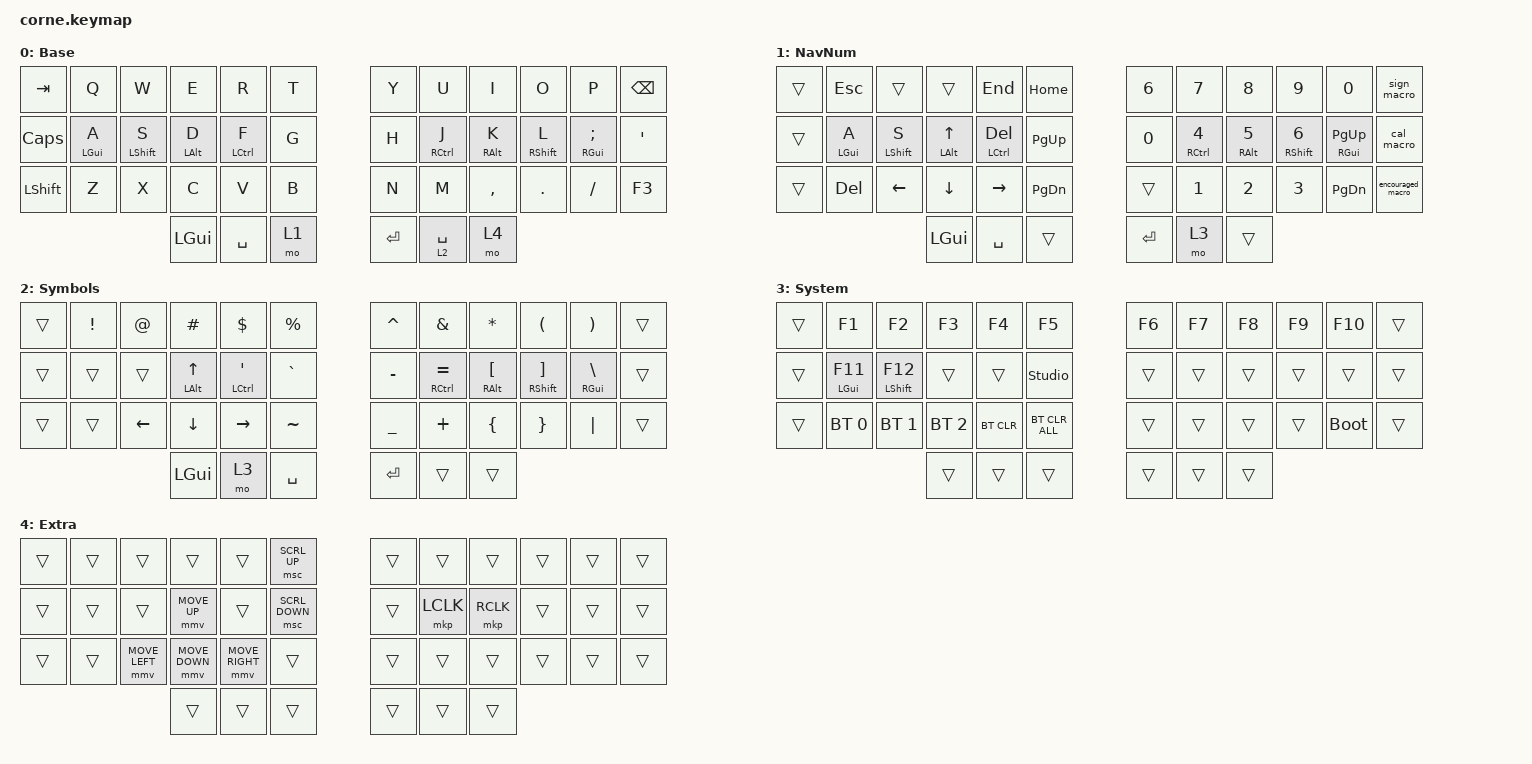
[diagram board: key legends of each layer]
#include <behaviors.dtsi>
#include <dt-bindings/zmk/bt.h>
#include <dt-bindings/zmk/keys.h>
#include <dt-bindings/zmk/pointing.h>

#define DEF 0
#define NAV 1
#define SYM 2
#define ADJ 3
#define EXTRA 4

/ {
    behaviors {
        hm: homerow_mods {
            compatible = "zmk,behavior-hold-tap";
            #binding-cells = <2>;
            tapping-term-ms = <200>;
            flavor = "tap-preferred";
            bindings = <&kp>, <&kp>;

            quick-tap-ms = <180>;
            require-prior-idle-ms = <120>; /* tune to taste */
        };

        para: para {
            compatible = "zmk,behavior-tap-dance";
            #binding-cells = <0>;
            bindings = <&kp LEFT_PARENTHESIS>, <&kp RIGHT_PARENTHESIS>;
        };

        caps: caps {
            compatible = "zmk,behavior-caps-word";
            #binding-cells = <0>;
            continue-list = <MINUS BACKSPACE>;
        };

        paraless: paraless {
            compatible = "zmk,behavior-mod-morph";
            bindings = <&kp LEFT_PARENTHESIS>, <&kp LESS_THAN>;

            #binding-cells = <0>;
            mods = <(MOD_LSFT)>;
        };

        paragreat: paragreat {
            compatible = "zmk,behavior-mod-morph";
            bindings = <&kp RIGHT_PARENTHESIS>, <&kp GREATER_THAN>;

            #binding-cells = <0>;
            mods = <(MOD_LSFT)>;
        };
    };

    macros {
        sign_macro: sign_macro {
            compatible = "zmk,behavior-macro";
            #binding-cells = <0>;
            bindings = <&macro_tap>, <&kp DOT &kp N &kp A &kp B>;

            label = "SIGN_MACRO";
        };

        cal_macro: cal_macro {
            compatible = "zmk,behavior-macro";
            #binding-cells = <0>;
            bindings =
                <&macro_tap>,
                <&kp DOT &kp P &kp T &kp C &kp A &kp L &kp LBKT &kp STAR &kp N3>;

            label = "CAL_MACRO";
        };

        encouraged_macro: encouraged_macro {
            compatible = "zmk,behavior-macro";
            #binding-cells = <0>;
            bindings =
                <&macro_tap>,
                <&kp DOT &kp E &kp N &kp C &kp O &kp U &kp R &kp A &kp G &kp E &kp D>;

            label = "ENCOURAGED_MACRO";
        };
    };

    combos {
        compatible = "zmk,combos";

        escape {
            bindings = <&kp ESCAPE>;
            key-positions = <13 29>;
        };

        delete {
            bindings = <&kp DELETE>;
            key-positions = <15 21>;
        };

        perc {
            bindings = <&kp PERCENT>;
            key-positions = <5 17>;
            layers = <0>;
        };

        equal {
            bindings = <&kp EQUAL>;
            key-positions = <28 16>;
            layers = <0>;
        };

        dollar {
            bindings = <&kp LEFT_PARENTHESIS>;
            key-positions = <4 16>;
            layers = <0>;
        };

        pound {
            bindings = <&kp POUND>;
            key-positions = <3 15>;
            layers = <0>;
        };

        at {
            bindings = <&kp AT>;
            key-positions = <2 14>;
            layers = <0>;
        };

        backslash {
            bindings = <&kp BACKSLASH>;
            key-positions = <26 14>;
            layers = <0>;
        };

        star {
            bindings = <&kp STAR>;
            key-positions = <8 20>;
            layers = <0>;
        };

        slash {
            bindings = <&kp SLASH>;
            key-positions = <32 20>;
            layers = <0>;
        };

        plus {
            bindings = <&kp RIGHT_PARENTHESIS>;
            key-positions = <7 19>;
            layers = <0>;
        };

        minus {
            bindings = <&kp KP_MINUS>;
            key-positions = <31 19>;
            layers = <0>;
        };

        underscore {
            bindings = <&kp UNDER>;
            key-positions = <30 18>;
            layers = <0>;
        };

        leftbrack {
            bindings = <&kp LEFT_BRACKET>;
            key-positions = <31 32>;
            layers = <0>;
        };

        rightbrack {
            bindings = <&kp RIGHT_BRACKET>;
            key-positions = <33 32>;
            layers = <0>;
        };

        para-less {
            bindings = <&paraless>;
            key-positions = <20 19>;
            layers = <0>;
        };

        para-great {
            bindings = <&paragreat>;
            key-positions = <20 21>;
            layers = <0>;
        };
    };

    //

    keymap {
        compatible = "zmk,keymap";

        DEF {
            display-name = "Base";

            // -----------------------------------------------------------------------------------------
            // |  Q  |  W  |  E  |  R  |  T  |   |  Y  |  U   |  I  |  O  |  P  |
            // |  A  |  S  |  D  |  F  |  G  |   |  H  |  J   |  K  |  L  |  ;  |
            // |  Z  |  X  |  C  |  V  |  B  |   |  N  |  M   |  ,  |  .  |  /  |
            // | GUI | CTRL | SHFT | LWR | SPC |   | ENT | RSE  | BKSP | ALT | ESC |

            bindings = <
&kp TAB         &kp Q       &kp W        &kp E       &kp R        &kp T    &kp Y    &kp U        &kp I       &kp O        &kp P          &kp BACKSPACE
&kp CAPSLOCK    &hm LGUI A  &hm LSHFT S  &hm LALT D  &hm LCTRL F  &kp G    &kp H    &hm RCTRL J  &hm RALT K  &hm RSHFT L  &hm RGUI SEMI  &kp APOS
&kp LEFT_SHIFT  &kp Z       &kp X        &kp C       &kp V        &kp B    &kp N    &kp M        &kp COMMA   &kp DOT      &kp FSLH       &kp F3
                                         &kp LGUI    &kp SPACE    &mo 1    &kp RET  &lt 2 SPACE  &mo 4
            >;
        };

        NAV {
            display-name = "NavNum";

            // -----------------------------------------------------------------------------------------
            // |  TAB |  1  |  2  |  3  |  4  |  5  |   |  6  |  7  |  8  |  9  |  0  | BKSP |
            // | BTCLR| BT1 | BT2 | BT3 | BT4 | BT5 |   | LFT | DWN |  UP | RGT |     |      |
            // | SHFT |     |     |     |     |     |   |     |     |     |     |     |      |
            // | GUI | CTRL | SHFT | LWR | SPC |   | ENT | RSE  | BKSP | ALT | ESC |

            bindings = <
&trans  &kp ESC     &trans       &trans             &kp END          &kp HOME         &kp N6   &kp N7        &kp N8       &kp N9        &kp N0            &sign_macro
&trans  &hm LGUI A  &hm LSHFT S  &hm LALT UP_ARROW  &hm LCTRL DEL    &kp PAGE_UP      &kp N0   &hm RCTRL N4  &hm RALT N5  &hm RSHFT N6  &hm RGUI PAGE_UP  &cal_macro
&trans  &kp DEL     &kp LEFT     &kp DOWN           &kp RIGHT_ARROW  &kp PAGE_DOWN    &trans   &kp N1        &kp N2       &kp N3        &kp PAGE_DOWN     &encouraged_macro
                                 &kp LGUI           &kp SPACE        &trans           &kp RET  &mo 3         &trans
            >;
        };

        SYM {
            display-name = "Symbols";

            // -----------------------------------------------------------------------------------------
            // |  TAB |  !  |  @  |  #  |  $  |  %  |   |  ^  |  &  |  *  |  (  |  )  | BKSP |
            // | CTRL |     |     |     |     |     |   |  -  |  =  |  [  |  ]  |  \  |  `   |
            // | SHFT |     |     |     |     |     |   |  _  |  +  |  {  |  }  | "|" |  ~   |
            //                    | GUI |     | SPC |   | ENT |     | ALT |

            bindings = <
&trans  &kp EXCL  &kp AT          &kp HASH           &kp DLLR         &kp PRCNT    &kp CARET  &kp AMPS         &kp ASTRK      &kp LEFT_PARENTHESIS  &kp RPAR       &trans
&trans  &trans    &trans          &hm LALT UP_ARROW  &hm LCTRL SQT    &kp GRAVE    &kp MINUS  &hm RCTRL EQUAL  &hm RALT LBKT  &hm RSHFT RBKT        &hm RGUI BSLH  &trans
&trans  &trans    &kp LEFT_ARROW  &kp DOWN_ARROW     &kp RIGHT_ARROW  &kp TILDE    &kp UNDER  &kp PLUS         &kp LBRC       &kp RBRC              &kp PIPE       &trans
                                  &kp LGUI           &mo 3            &kp SPACE    &kp RET    &trans           &trans
            >;
        };

        ADJ {
            display-name = "System";
            bindings = <
&trans  &kp F1        &kp F2         &kp F3        &kp F4      &kp F5            &kp F6  &kp F7  &kp F8  &kp F9  &kp F10      &trans
&trans  &hm LGUI F11  &hm LSHFT F12  &trans        &trans      &studio_unlock    &trans  &trans  &trans  &trans  &trans       &trans
&trans  &bt BT_SEL 0  &bt BT_SEL 1   &bt BT_SEL 2  &bt BT_CLR  &bt BT_CLR_ALL    &trans  &trans  &trans  &trans  &bootloader  &trans
                                     &trans        &trans      &trans            &trans  &trans  &trans
            >;
        };

        EXTRA {
            display-name = "Extra";
            bindings = <
&trans  &trans  &trans          &trans          &trans           &msc SCRL_UP      &trans  &trans     &trans     &trans  &trans  &trans
&trans  &trans  &trans          &mmv MOVE_UP    &trans           &msc SCRL_DOWN    &trans  &mkp LCLK  &mkp RCLK  &trans  &trans  &trans
&trans  &trans  &mmv MOVE_LEFT  &mmv MOVE_DOWN  &mmv MOVE_RIGHT  &trans            &trans  &trans     &trans     &trans  &trans  &trans
                                &trans          &trans           &trans            &trans  &trans     &trans
            >;
        };
    };
};
